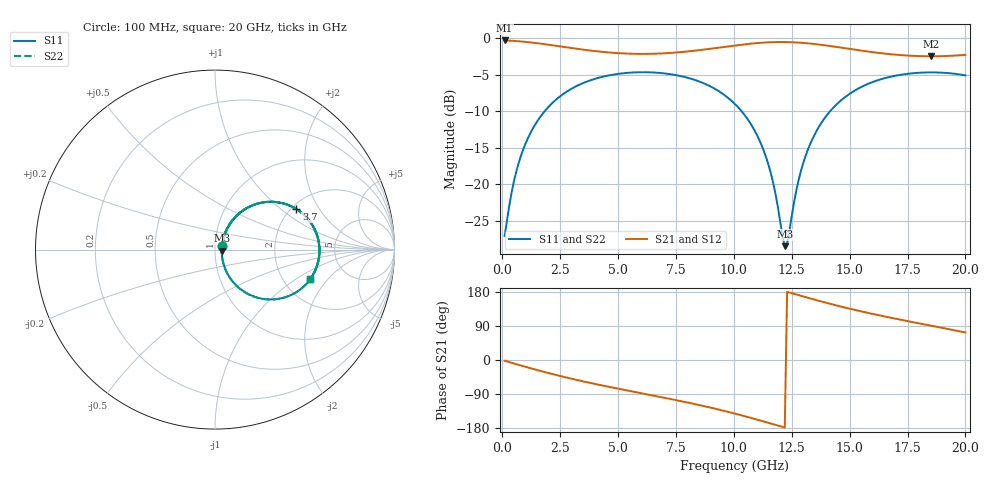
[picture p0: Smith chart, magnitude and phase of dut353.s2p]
! Touchstone file exported from HFSS 2026.1.0
!  File:  C:/ffzhzh/LocalFiles/Ansys_Project_Files/temp_train_TSV_RDL_353_1783037130_46388.aedt
!  Generated:  08:24:04 AM Jul  3, 2026
!  Design:  TSV_RDL
!  Project:  temp_train_TSV_RDL_353_1783037130_46388
! Variables:
!  h_bsmrdl = 4.24um
!  h_ox = 20um
!  h_rdl = 5um
!  h_sub = 82.04um
!  h_tmrdl = 2.18um
!  h_tsv = 82.04um
!  h_via = 3um
!  l_bsmrdl = 943.65um
!  l_sub = 4832.61um
!  l_tmrdl = 381.65um
!  m_sub = 200um
!  pitch = 36.49um
!  r_tsv = 7.48um
!  s_tmrdl = 10um
!  w_bsmrdl = 10.33um
!  w_sub = 500um
!  w_tmrdl = 14.69um
!  x_tsv_center1 = 388.995um
!  x_tsv_center2 = 1342.975um
!  x_tsv_center3 = 1739.315um
!  x_tsv_center4 = 2693.295um
!  x_tsv_center5 = 3089.635um
!  x_tsv_center6 = 4043.615um
# GHz S MA R 50.000000
! Terminal data exported
! Port[1] = TM_RDL1_1_T1
! Port[2] = TM_RDL5_1_T1
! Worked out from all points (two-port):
!   200 points, 100 MHz to 20 GHz, reference 50 ohm
!   highest |S21| = -0.35 dB at 100 MHz (marker M1); lowest = -2.5 dB at 18.5 GHz (marker M2)
!   |S21| within 3 dB of the highest: start of sweep to end of sweep
!   lowest |S11| = -28.4 dB at 12.2 GHz (marker M3), VSWR 1.08, Z = 53.9 - j0.662 ohm
!   |S11| at or under -10 dB: start of sweep to 1.833 GHz; 10.33 GHz to 14.16 GHz (3.829 GHz wide, 31.3 % of centre)
!   |S22| runs from -28.6 to -4.7 dB; largest |S21 - S12| = 1.6e-14
!   S11 on the Smith chart (normalised r, x): 100 MHz: 1.08, +0.04; 3.7 GHz: 2.12, +1.29; 20 GHz: 2.80, -1.32
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0.1  0.04449 24.5  0.96 -1.9  0.96 -1.9  0.04449 24.5
! Gamma 0 0 0 0
! Port Impedance 50 0 50 0
0.6  0.1218 58.7  0.951 -11.0  0.951 -11.0  0.1218 58.7
1.2  0.2219 57.2  0.932 -21.4  0.932 -21.4  0.2219 57.2
2.2  0.3643 45.6  0.8887 -37.7  0.8887 -37.7  0.3643 45.6
3.5  0.4924 29.1  0.8306 -56.5  0.8306 -56.5  0.4924 29.1
3.7  0.5065 26.6  0.8229 -59.2  0.8229 -59.2  0.5065 26.6
5.3  0.5751 8.0  0.782 -79.3  0.782 -79.3  0.5751 7.9
6.8  0.5765 -8.9  0.7817 -97.2  0.7817 -97.2  0.5765 -8.9
8.7  0.4899 -31.4  0.8317 -121.5  0.8317 -121.5  0.4899 -31.5
10.1  0.3472 -49.6  0.8896 -142.3  0.8896 -142.3  0.3472 -49.7
10.8  0.2483 -58.1  0.9155 -153.8  0.9155 -153.8  0.2482 -58.3
11.4  0.152 -62.5  0.9308 -164.1  0.9308 -164.1  0.1519 -62.8
11.8  0.08602 -57.8  0.936 -171.2  0.936 -171.2  0.08572 -58.3
12.2  0.03794 -9.3  0.9366 -178.3  0.9366 -178.3  0.03712 -9.6
12.3  0.0394 15.7  0.9359 180.0  0.9359 180.0  0.03858 16.0
12.6  0.07564 53.0  0.9323 174.6  0.9323 174.6  0.07516 53.5
12.9  0.124 60.0  0.9262 169.4  0.9262 169.4  0.1237 60.4
13.4  0.2051 58.8  0.911 160.7  0.911 160.7  0.2048 59.0
14.7  0.383 43.7  0.8548 139.9  0.8548 139.9  0.3828 43.8
16.7  0.5399 19.3  0.7753 112.5  0.7753 112.5  0.5398 19.4
18.5  0.5814 -0.6  0.7488 90.8  0.7488 90.8  0.5813 -0.5
20  0.5547 -17.0  0.7653 72.8  0.7653 72.8  0.5546 -17.0
